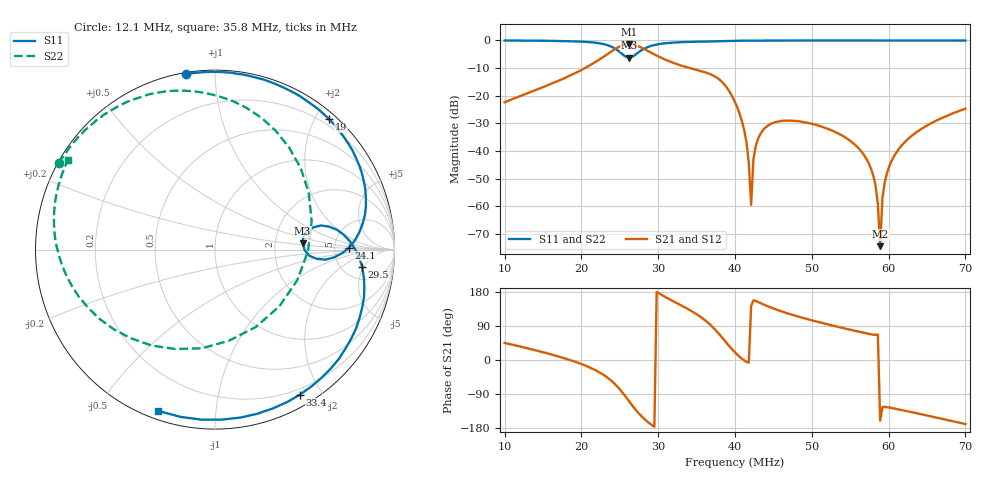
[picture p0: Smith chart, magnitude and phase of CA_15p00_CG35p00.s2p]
#  HZ  S  RI  R  50.00
! Rohde & Schwarz ZVT8 8Ports - Version 4.11 - 1300.0000k08 SN: 100242
! Date: 2026-07-31 14:19:05
! Measurements: S11 S21 S12 S22
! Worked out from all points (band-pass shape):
!   201 points, 10 MHz to 70 MHz, reference 50 ohm
!   highest |S21| = -1.24 dB at 26.2 MHz (marker M1); lowest = -74.4 dB at 58.9 MHz (marker M2)
!   |S21| within 3 dB of the highest: 23.78 MHz to 28.94 MHz (5.16 MHz wide, 19.6 % of centre)
!   lowest |S11| = -6.2 dB at 26.2 MHz (marker M3), VSWR 2.92, Z = 144 + j13 ohm
!   |S11| at or under -10 dB: nowhere
!   |S22| runs from -6.4 to 0.0 dB; largest |S21 - S12| = 0.004
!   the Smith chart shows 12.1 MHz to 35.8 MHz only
!   S11 on the Smith chart (normalised r, x): 12.1 MHz: 0.01, +0.85; 19 MHz: 0.10, +2.20; 24.1 MHz: 6.92, +0.36; 29.5 MHz: 7.57, -4.66; 33.4 MHz: 0.13, -1.74; 35.8 MHz: 0.04, -0.71
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1e7  -0.4045 0.9108  0.0538 0.054  0.0535 0.0541  -0.9156 0.3929
1.21e7  -0.1643 0.9782  0.0815 0.0575  0.0814 0.0576  -0.8702 0.4801
1.9e7  0.6361 0.7268  0.2487 -0.014  0.2484 -0.0146  -0.5538 0.7901
2.02e7  0.7401 0.5943  0.2955 -0.0637  0.2949 -0.0634  -0.4382 0.8417
2.41e7  0.748 0.0115  0.3445 -0.5601  0.3438 -0.5592  0.3382 0.6624
2.62e7  0.488 0.0342  -0.2791 -0.8212  -0.2779 -0.8205  0.3589 -0.3159
2.95e7  0.8199 -0.098  -0.5571 -0.037  -0.5567 -0.0367  -0.7998 -0.1989
3.01e7  0.8321 -0.2088  -0.5065 0.0362  -0.5058 0.0347  -0.853 -0.0852
3.34e7  0.4734 -0.808  -0.2581 0.2181  -0.2574 0.2176  -0.8774 0.3339
3.58e7  -0.3151 -0.899  -0.0911 0.2564  -0.0915 0.2563  -0.8176 0.5019
3.79e7  -0.9642 0.0548  0.0707 0.1868  0.0702 0.1866  -0.7627 0.6118
4e7  0.1008 0.9775  0.072 0.0263  0.072 0.0262  -0.6975 0.7108
4.15e7  0.806 0.5741  0.0143 -0.00131  0.0142 -0.00119  -0.6393 0.7656
4.21e7  0.928 0.3517  -0.000851 0.000643  -0.000888 0.00066  -0.6172 0.7844
4.24e7  0.9621 0.2433  -0.00656 0.00274  -0.00658 0.00266  -0.6067 0.7934
4.36e7  0.9844 -0.1393  -0.0198 0.0126  -0.0198 0.0126  -0.5609 0.826
5.02e7  0.1503 -0.9856  -0.00729 0.0297  -0.00735 0.0298  -0.3172 0.9451
5.71e7  -0.6948 -0.7159  0.00245 0.00682  0.00248 0.00683  -0.0579 0.9954
5.83e7  -0.792 -0.6061  0.000942 0.00218  0.00095 0.00218  -0.0122 0.9976
5.89e7  -0.8346 -0.5468  -0.000179 -6.44e-05  -0.000168 -6.94e-05  0.0103 0.9967
6.01e7  -0.9032 -0.4205  -0.00309 -0.00436  -0.00307 -0.0044  0.0571 0.9955
7e7  -0.7413 0.6637  -0.0572 -0.0111  -0.0571 -0.011  0.4335 0.8965
